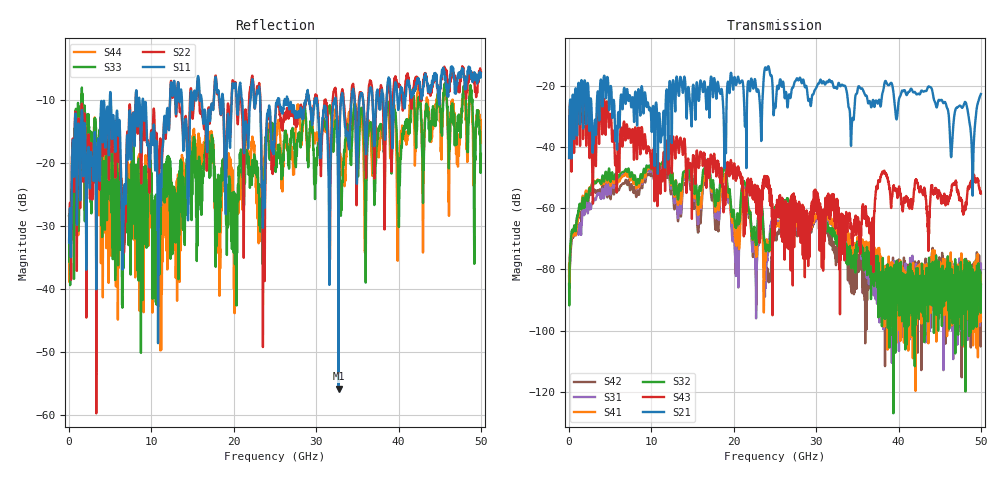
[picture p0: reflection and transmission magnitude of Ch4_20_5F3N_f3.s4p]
!Agilent Technologies,N5247A,US51170199,A.09.90.13
!Agilent N5247A: A.09.90.13
!Date: Monday, December 14, 2015 15:35:06
!Correction: S11(Full 4 Port(1,2,3,4))
!S12(Full 4 Port(1,2,3,4))
!S13(Full 4 Port(1,2,3,4))
!S14(Full 4 Port(1,2,3,4))
!S21(Full 4 Port(1,2,3,4))
!S22(Full 4 Port(1,2,3,4))
!S23(Full 4 Port(1,2,3,4))
!S24(Full 4 Port(1,2,3,4))
!S31(Full 4 Port(1,2,3,4))
!S32(Full 4 Port(1,2,3,4))
!S33(Full 4 Port(1,2,3,4))
!S34(Full 4 Port(1,2,3,4))
!S41(Full 4 Port(1,2,3,4))
!S42(Full 4 Port(1,2,3,4))
!S43(Full 4 Port(1,2,3,4))
!S44(Full 4 Port(1,2,3,4))
!S4P File: Measurements: <S11,S12,S13,S14>,
!<S21,S22,S23,S24>,
!<S31,S32,S33,S34>,
!<S41,S42,S43,S44>:
# Hz S  dB  R 50
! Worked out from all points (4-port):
!   3201 points, 10 MHz to 50 GHz, reference 50 ohm
!   strongest paths, dB at 10 MHz, 12.51 GHz, 25 GHz, 37.5 GHz, 50 GHz:
!     S21: -43.4, -27.6, -26.6, -25.6, -22.5
!     S43: -43.5, -44.0, -62.8, -52.0, -55.1
!     S32: -84.8, -48.2, -59.9, -80.9, -85.0
!     S41: -79.4, -48.2, -63.8, -77.4, -84.7
!     S31: -78.6, -49.0, -61.0, -84.3, -95.6
!     S42: -82.2, -49.6, -67.7, -80.7, -78.2
!   lowest |S11| = -55.8 dB at 32.72 GHz (marker M1), VSWR 1.00, Z = 50.1 + j0.112 ohm
!   |S11| at or under -10 dB: start of sweep to 4.951 GHz; 5.088 GHz to 8.083 GHz (2.995 GHz wide, 45.5 % of centre); 8.996 GHz to 12.26 GHz (3.262 GHz wide, 30.7 % of centre)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
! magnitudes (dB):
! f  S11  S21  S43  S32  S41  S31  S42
! 10 MHz  -32.6  -43.4  -43.5  -84.8  -79.4  -78.6  -82.2
! 11.52 GHz  -13.3  -28.3  -41.8  -45.1  -45.4  -46.0  -47.4
! 20.38 GHz  -11.0  -18.3  -47.0  -63.9  -69.7  -72.6  -69.0
! 21.32 GHz  -15.6  -31.1  -57.8  -51.7  -54.4  -53.4  -53.9
! 24.19 GHz  -11.7  -13.4  -51.5  -73.2  -73.0  -73.6  -82.1
! 32.72 GHz  -55.8  -18.9  -64.0  -70.8  -68.8  -68.5  -75.3
! 50 GHz  -5.7  -22.5  -55.1  -85.0  -84.7  -95.6  -78.2
